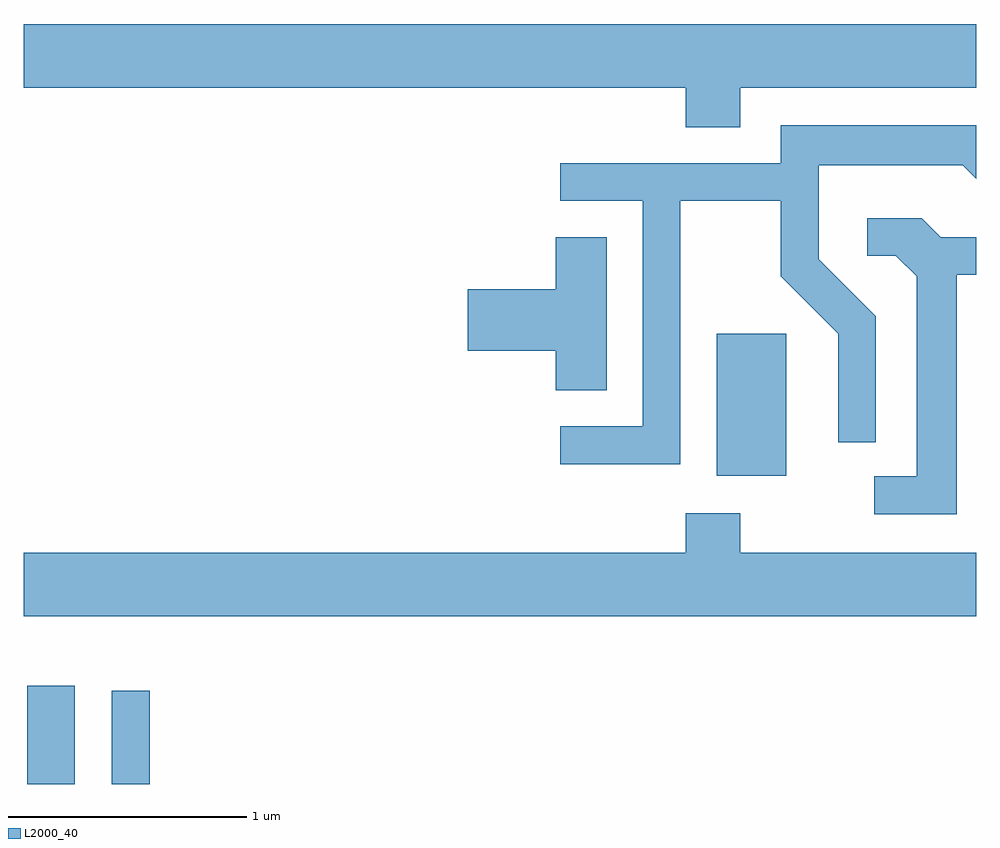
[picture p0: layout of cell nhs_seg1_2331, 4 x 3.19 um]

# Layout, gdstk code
import gdstk
lib = gdstk.Library(unit=1e-6, precision=1e-09)
def R(c, l, rs):  # rectangles x0, y0, x1, y1
    for r in rs: c.add(gdstk.rectangle(r[:2], r[2:], *l))
def P(c, l, *ps):  # polygons
    for p in ps: c.add(gdstk.Polygon(p, *l))
L2000_40 = (2000, 40)

nhs_seg1_2331 = lib.new_cell('nhs_seg1_2331')
R(nhs_seg1_2331, L2000_40, [(255.626,947.712,255.824,948.124), (255.981,947.712,256.139,948.103), (258.521,949.006,258.814,949.604)])
P(nhs_seg1_2331, L2000_40, [(258.619,950.636),(259.611,950.636),(259.611,950.904),(255.611,950.904),(255.611,950.636),(258.391,950.636),(258.391,950.471),(258.619,950.471)],
  [(258.369,950.161),(258.791,950.161),(258.791,949.844),(259.031,949.604),(259.031,949.148),(259.189,949.148),(259.189,949.677),(258.949,949.917),(258.949,950.311),(259.554,950.311),(259.611,950.254),(259.611,950.479),(258.791,950.479),(258.791,950.319),(257.863,950.319),(257.863,950.161),(258.211,950.161),(258.211,949.214),(257.863,949.214),(257.863,949.056),(258.369,949.056)],
  [(259.529,949.851),(259.611,949.851),(259.611,950.009),(259.462,950.009),(259.382,950.089),(259.153,950.089),(259.153,949.931),(259.274,949.931),(259.361,949.844),(259.361,949.004),(259.183,949.004),(259.183,948.846),(259.529,948.846)],
  [(258.059,950.009),(257.846,950.009),(257.846,949.789),(257.476,949.789),(257.476,949.531),(257.846,949.531),(257.846,949.366),(258.059,949.366)],
  [(259.611,948.684),(258.619,948.684),(258.619,948.849),(258.391,948.849),(258.391,948.684),(255.611,948.684),(255.611,948.416),(259.611,948.416)])

lib.write_gds('nhs_seg1_2331.gds')
